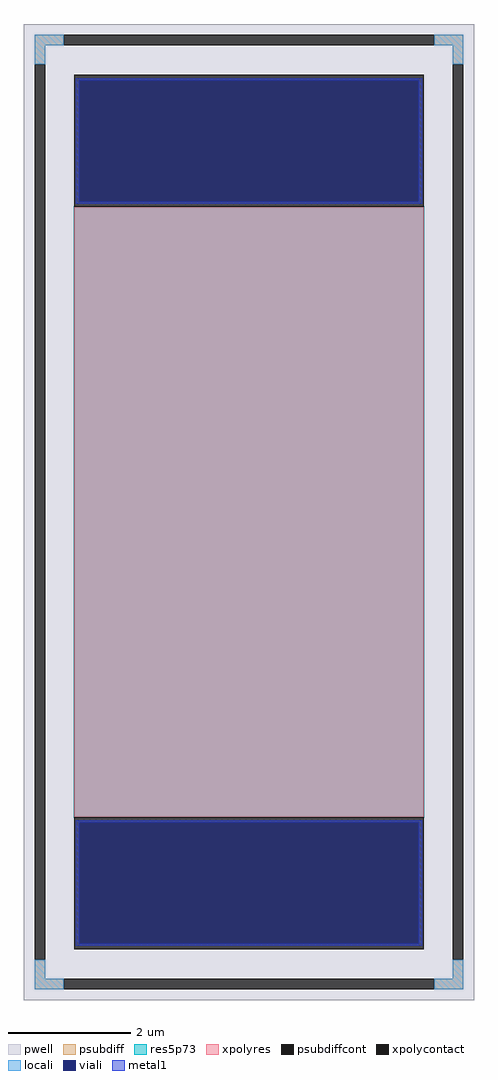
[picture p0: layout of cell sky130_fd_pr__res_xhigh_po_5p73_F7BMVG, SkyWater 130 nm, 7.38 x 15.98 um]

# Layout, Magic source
magic
tech sky130A
<< pwell >>
rect -369 -799 369 799
<< psubdiff >>
rect -351 764 -303 781
rect 303 764 351 781
rect -351 733 -334 764
rect 334 733 351 764
rect -351 -764 -334 -733
rect 334 -764 351 -733
rect -351 -781 -303 -764
rect 303 -781 351 -764
<< psubdiffcont >>
rect -303 764 303 781
rect -351 -733 -334 733
rect 334 -733 351 733
rect -303 -781 303 -764
<< xpolycontact >>
rect -286 500 286 716
rect -286 -716 286 -500
<< xpolyres >>
rect -286 -500 286 500
<< locali >>
rect -351 764 -303 781
rect 303 764 351 781
rect -351 733 -334 764
rect 334 733 351 764
rect -351 -764 -334 -733
rect 334 -764 351 -733
rect -351 -781 -303 -764
rect 303 -781 351 -764
<< viali >>
rect -278 508 278 707
rect -278 -707 278 -508
<< metal1 >>
rect -284 707 284 710
rect -284 508 -278 707
rect 278 508 284 707
rect -284 505 284 508
rect -284 -508 284 -505
rect -284 -707 -278 -508
rect 278 -707 284 -508
rect -284 -710 284 -707
<< res5p73 >>
rect -287 -501 287 501
<< properties >>
string FIXED_BBOX -343 -772 343 772
string gencell sky130_fd_pr__res_xhigh_po_5p73
string library sky130
string parameters w 5.730 l 10 m 1 nx 1 wmin 5.730 lmin 0.50 rho 2000 val 3.556k dummy 0 dw 0.0 term 188.2 sterm 0.0 caplen 0 wmax 5.730 guard 1 glc 1 grc 1 gtc 1 gbc 1 compatible {sky130_fd_pr__res_xhigh_po_0p35  sky130_fd_pr__res_xhigh_po_0p69 sky130_fd_pr__res_xhigh_po_1p41  sky130_fd_pr__res_xhigh_po_2p85 sky130_fd_pr__res_xhigh_po_5p73} snake 0 full_metal 1 n_guard 0 hv_guard 0 vias 1 viagb 0 viagt 0 viagl 0 viagr 0
<< end >>
